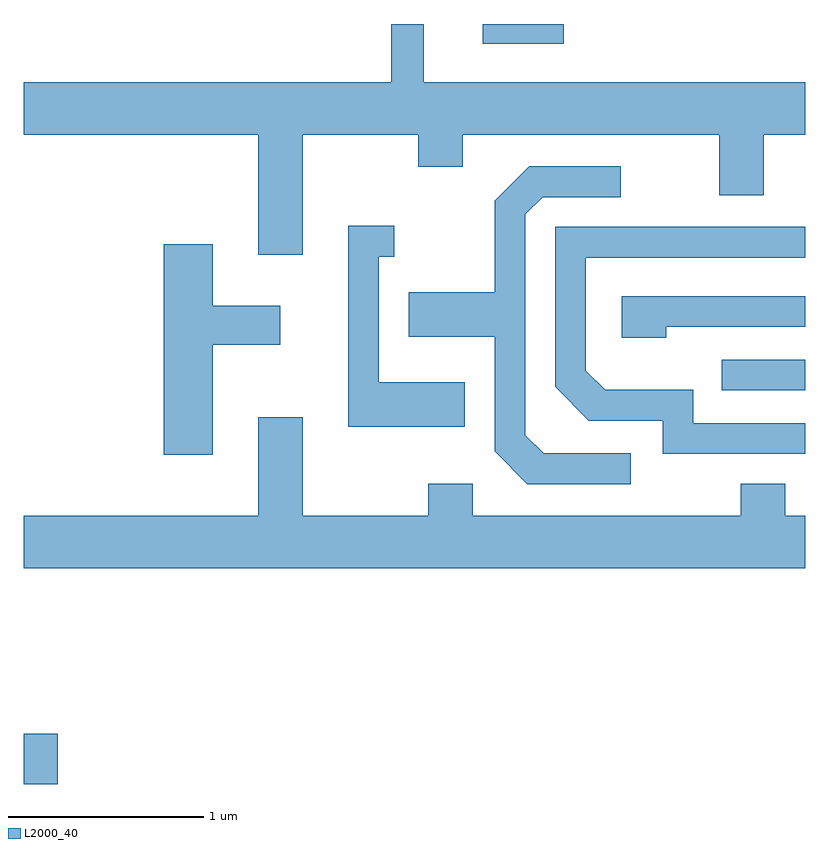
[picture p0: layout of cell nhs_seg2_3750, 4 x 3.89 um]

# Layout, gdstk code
import gdstk
lib = gdstk.Library(unit=1e-6, precision=1e-09)
def R(c, l, rs):  # rectangles x0, y0, x1, y1
    for r in rs: c.add(gdstk.rectangle(r[:2], r[2:], *l))
def P(c, l, *ps):  # polygons
    for p in ps: c.add(gdstk.Polygon(p, *l))
L2000_40 = (2000, 40)

nhs_seg2_3750 = lib.new_cell('nhs_seg2_3750')
R(nhs_seg2_3750, L2000_40, [(295.611,1013.911,295.784,1014.169), (299.183,1015.926,299.611,1016.084), (297.961,1017.701,298.374,1017.802)])
P(nhs_seg2_3750, L2000_40, [(297.039,1017.236),(297.631,1017.236),(297.631,1017.071),(297.859,1017.071),(297.859,1017.236),(299.171,1017.236),(299.171,1016.926),(299.399,1016.926),(299.399,1017.236),(299.611,1017.236),(299.611,1017.504),(297.659,1017.504),(297.659,1017.802),(297.491,1017.802),(297.491,1017.504),(295.611,1017.504),(295.611,1017.236),(296.811,1017.236),(296.811,1016.621),(297.039,1016.621)],
  [(298.718,1015.604),(298.272,1015.604),(298.179,1015.697),(298.179,1016.829),(298.267,1016.916),(298.668,1016.916),(298.668,1017.074),(298.199,1017.074),(298.021,1016.897),(298.021,1016.429),(297.581,1016.429),(297.581,1016.201),(298.021,1016.201),(298.021,1015.614),(298.189,1015.446),(298.718,1015.446)],
  [(297.869,1015.969),(297.429,1015.969),(297.429,1016.611),(297.508,1016.611),(297.508,1016.769),(297.271,1016.769),(297.271,1015.741),(297.869,1015.741)],
  [(299.611,1015.759),(299.039,1015.759),(299.039,1015.929),(298.587,1015.929),(298.489,1016.027),(298.489,1016.606),(299.611,1016.606),(299.611,1016.764),(298.331,1016.764),(298.331,1015.944),(298.504,1015.771),(298.881,1015.771),(298.881,1015.601),(299.611,1015.601)],
  [(296.579,1016.161),(296.924,1016.161),(296.924,1016.359),(296.579,1016.359),(296.579,1016.674),(296.326,1016.674),(296.326,1015.596),(296.579,1015.596)],
  [(298.899,1016.251),(299.611,1016.251),(299.611,1016.409),(298.671,1016.409),(298.671,1016.196),(298.899,1016.196)],
  [(299.611,1015.284),(299.509,1015.284),(299.509,1015.449),(299.281,1015.449),(299.281,1015.284),(297.909,1015.284),(297.909,1015.449),(297.681,1015.449),(297.681,1015.284),(297.039,1015.284),(297.039,1015.789),(296.811,1015.789),(296.811,1015.284),(295.611,1015.284),(295.611,1015.016),(299.611,1015.016)])

lib.write_gds('nhs_seg2_3750.gds')
